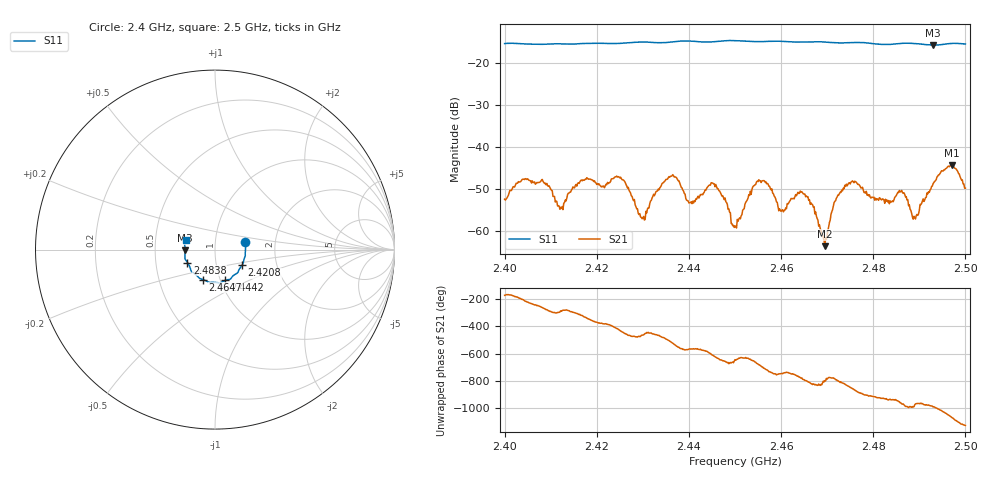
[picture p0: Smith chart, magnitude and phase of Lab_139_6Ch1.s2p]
# Hz S RI R 50
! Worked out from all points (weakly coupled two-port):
!   601 points, 2.4 GHz to 2.5 GHz, reference 50 ohm
!   highest |S21| = -44.36 dB at 2.497 GHz (marker M1); lowest = -63.6 dB at 2.4695 GHz (marker M2)
!   lowest |S11| = -15.6 dB at 2.493 GHz (marker M3), VSWR 1.40, Z = 35.8 - j0.208 ohm
!   |S11| at or under -10 dB: start of sweep to end of sweep
!   S12 and S22 are empty: the file has one direction only
!   S11 on the Smith chart (normalised r, x): 2.4 GHz: 1.40, +0.12; 2.4208 GHz: 1.33, -0.24; 2.4442 GHz: 1.05, -0.37; 2.4647 GHz: 0.83, -0.29; 2.4838 GHz: 0.73, -0.11; 2.5 GHz: 0.72, +0.08
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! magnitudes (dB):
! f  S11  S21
! 2.4 GHz  -15.3  -52.4
! 2.408 GHz  -15.4  -47.9
! 2.4122 GHz  -15.3  -54.4
! 2.4167 GHz  -15.3  -47.9
! 2.4208 GHz  -15.2  -49.3
! 2.4255 GHz  -15.2  -47.8
! 2.43 GHz  -14.9  -57.0
! 2.4333 GHz  -15.0  -50.0
! 2.4442 GHz  -14.9  -49.3
! 2.45 GHz  -14.5  -58.8
! 2.455 GHz  -14.8  -48.2
! 2.46 GHz  -14.7  -55.3
! 2.4647 GHz  -14.9  -50.9
! 2.4667 GHz  -14.8  -53.6
! 2.4695 GHz  -14.9  -63.6
! 2.475 GHz  -15.0  -48.8
! 2.4833 GHz  -15.5  -52.7
! 2.4838 GHz  -15.4  -53.1
! 2.4892 GHz  -15.2  -57.2
! 2.493 GHz  -15.6  -48.7
! 2.497 GHz  -15.2  -44.4
! 2.5 GHz  -15.3  -49.8
